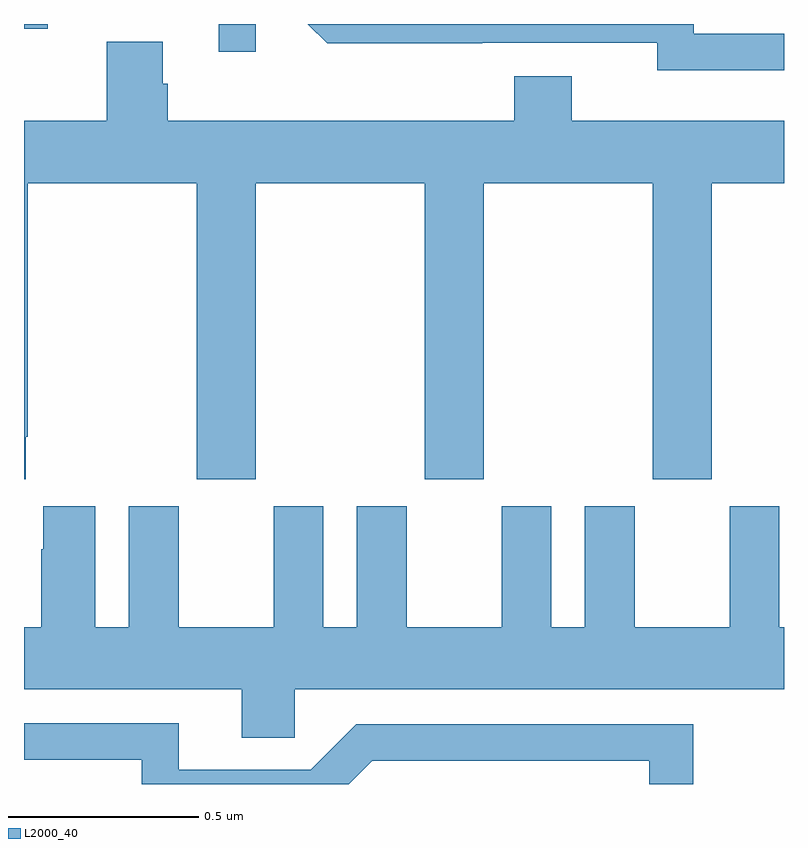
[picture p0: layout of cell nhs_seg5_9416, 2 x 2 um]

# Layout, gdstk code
import gdstk
lib = gdstk.Library(unit=1e-6, precision=1e-09)
def R(c, l, rs):  # rectangles x0, y0, x1, y1
    for r in rs: c.add(gdstk.rectangle(r[:2], r[2:], *l))
def P(c, l, *ps):  # polygons
    for p in ps: c.add(gdstk.Polygon(p, *l))
L2000_40 = (2000, 40)

nhs_seg5_9416 = lib.new_cell('nhs_seg5_9416')
R(nhs_seg5_9416, L2000_40, [(233.513,903.726,233.61,903.799), (233,903.786,233.062,903.799)])
P(nhs_seg5_9416, L2000_40, [(235,903.774),(234.762,903.774),(234.762,903.799),(233.747,903.799),(233.798,903.749),(234.206,903.749),(234.206,903.75),(234.666,903.75),(234.666,903.677),(235,903.677)],
  [(233.378,903.642),(233.365,903.642),(233.365,903.752),(233.218,903.752),(233.218,903.544),(233,903.544),(233,902.601),(233.005,902.601),(233.005,902.713),(233.01,902.713),(233.01,903.38),(233.455,903.38),(233.455,902.601),(233.61,902.601),(233.61,903.38),(234.055,903.38),(234.055,902.601),(234.21,902.601),(234.21,903.38),(234.655,903.38),(234.655,902.601),(234.81,902.601),(234.81,903.38),(235,903.38),(235,903.544),(234.442,903.544),(234.442,903.661),(234.29,903.661),(234.29,903.544),(233.378,903.544)],
  [(233.712,902.048),(235,902.048),(235,902.212),(234.988,902.212),(234.988,902.53),(234.857,902.53),(234.857,902.212),(234.607,902.212),(234.607,902.53),(234.476,902.53),(234.476,902.212),(234.388,902.212),(234.388,902.53),(234.257,902.53),(234.257,902.212),(234.007,902.212),(234.007,902.53),(233.876,902.53),(233.876,902.212),(233.788,902.212),(233.788,902.53),(233.657,902.53),(233.657,902.212),(233.407,902.212),(233.407,902.53),(233.276,902.53),(233.276,902.212),(233.188,902.212),(233.188,902.53),(233.051,902.53),(233.051,902.417),(233.045,902.417),(233.045,902.212),(233,902.212),(233,902.048),(233.573,902.048),(233.573,901.921),(233.712,901.921)],
  [(233.916,901.86),(234.645,901.86),(234.645,901.799),(234.761,901.799),(234.761,901.956),(233.874,901.956),(233.754,901.836),(233.407,901.836),(233.407,901.959),(233,901.959),(233,901.863),(233.31,901.863),(233.31,901.799),(233.855,901.799)])

lib.write_gds('nhs_seg5_9416.gds')
